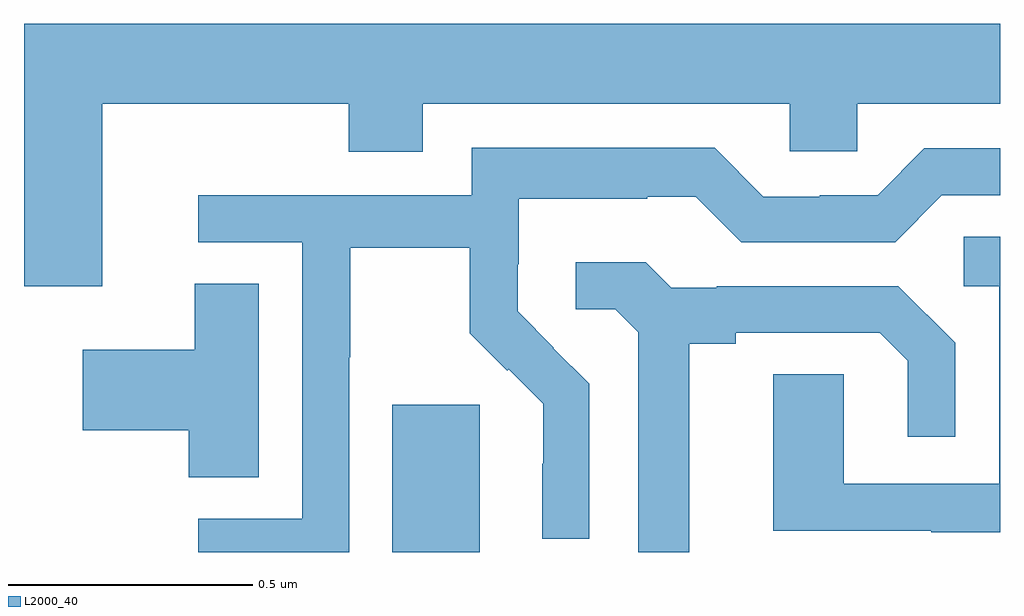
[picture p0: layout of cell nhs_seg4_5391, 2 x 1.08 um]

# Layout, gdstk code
import gdstk
lib = gdstk.Library(unit=1e-6, precision=1e-09)
def R(c, l, rs):  # rectangles x0, y0, x1, y1
    for r in rs: c.add(gdstk.rectangle(r[:2], r[2:], *l))
def P(c, l, *ps):  # polygons
    for p in ps: c.add(gdstk.Polygon(p, *l))
L2000_40 = (2000, 40)

nhs_seg4_5391 = lib.new_cell('nhs_seg4_5391')
R(nhs_seg4_5391, L2000_40, [(177.755,795.9,177.934,796.203)])
P(nhs_seg4_5391, L2000_40, [(177.16,796.82),(177.665,796.82),(177.665,796.721),(177.817,796.721),(177.817,796.82),(178.569,796.82),(178.569,796.722),(178.707,796.722),(178.707,796.82),(179,796.82),(179,796.984),(177,796.984),(177,796.446),(177.16,796.446)],
  [(177.666,796.3),(177.669,796.3),(177.669,796.524),(177.913,796.524),(177.913,796.349),(177.99,796.272),(177.993,796.275),(178.064,796.205),(178.064,796.082),(178.062,796.082),(178.062,795.928),(178.158,795.928),(178.158,796.246),(178.085,796.319),(178.086,796.32),(178.012,796.394),(178.012,796.491),(178.014,796.491),(178.014,796.625),(178.277,796.625),(178.277,796.629),(178.377,796.629),(178.47,796.536),(178.785,796.536),(178.881,796.632),(179,796.632),(179,796.728),(178.845,796.728),(178.749,796.632),(178.631,796.632),(178.631,796.629),(178.515,796.629),(178.415,796.729),(177.918,796.729),(177.918,796.632),(177.357,796.632),(177.357,796.536),(177.57,796.536),(177.57,795.969),(177.357,795.969),(177.357,795.9),(177.666,795.9)],
  [(179,796.547),(178.926,796.547),(178.926,796.446),(178.998,796.446),(178.998,796.041),(178.68,796.041),(178.68,796.265),(178.535,796.265),(178.535,795.945),(178.859,795.945),(178.859,795.941),(179,795.941)],
  [(178.363,796.328),(178.459,796.328),(178.459,796.35),(178.754,796.35),(178.811,796.293),(178.811,796.137),(178.908,796.137),(178.908,796.33),(178.792,796.446),(178.42,796.446),(178.42,796.443),(178.326,796.443),(178.274,796.495),(178.131,796.495),(178.131,796.398),(178.212,796.398),(178.259,796.351),(178.259,795.9),(178.363,795.9)],
  [(177.481,796.451),(177.35,796.451),(177.35,796.315),(177.12,796.315),(177.12,796.15),(177.338,796.15),(177.338,796.054),(177.481,796.054)])

lib.write_gds('nhs_seg4_5391.gds')
